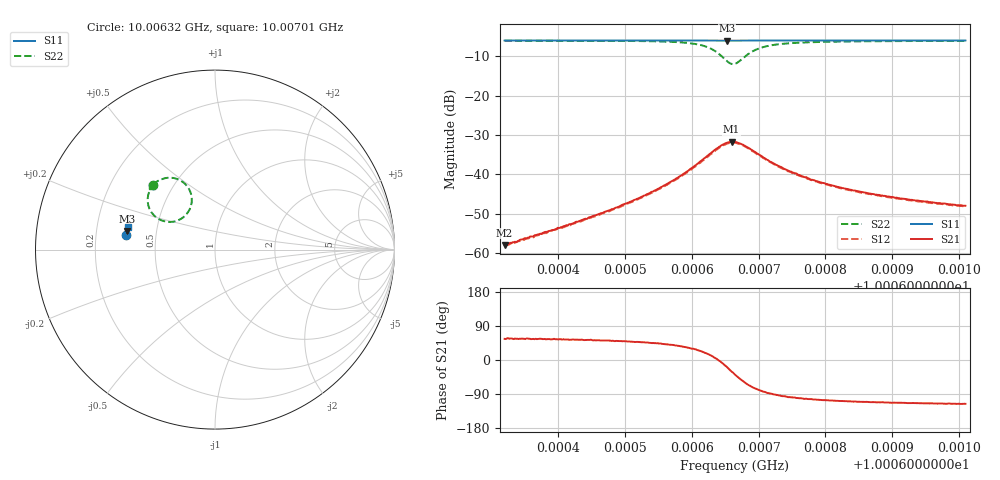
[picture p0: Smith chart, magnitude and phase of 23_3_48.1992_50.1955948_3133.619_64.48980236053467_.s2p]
#  HZ  S  RI  R  50.00
! Rohde & Schwarz Vector Network Analyzer
! Rohde-Schwarz,ZNB20-2Port,1311601062101988,3.16
! Created: UTC 3/20/2024, 11:37:03 AM
! freq[Hz]  re:S11  im:S11  re:S21  im:S21  re:S12  im:S12  re:S22  im:S22
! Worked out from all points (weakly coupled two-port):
!   401 points, 10.00632 GHz to 10.00701 GHz, reference 50 ohm
!   highest |S21| = -31.75 dB at 10.006659 GHz (marker M1); lowest = -58.0 dB at 10.00632 GHz (marker M2)
!   lowest |S11| = -6.0 dB at 10.006652 GHz (marker M3), VSWR 3.00, Z = 16.8 + j4.66 ohm
!   |S11| at or under -10 dB: nowhere
!   |S22| runs from -12.0 to -6.0 dB; largest |S21 - S12| = 0.0018
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1.00063196e10  -0.4953 0.0828  0.000707 0.00104  0.000618 0.00105  -0.346 0.361
1.00063938e10  -0.4946 0.0877  0.0011 0.00162  0.00103 0.00166  -0.3372 0.3689
1.00064352e10  -0.4941 0.0906  0.00154 0.0021  0.00144 0.0021  -0.3305 0.3744
1.00064938e10  -0.4935 0.0944  0.00257 0.00306  0.00237 0.00308  -0.3161 0.3838
1.00065214e10  -0.4931 0.0963  0.00338 0.00369  0.00317 0.00374  -0.3056 0.3891
1.00065507e10  -0.4926 0.0984  0.00482 0.00457  0.00449 0.00465  -0.2889 0.3954
1.00065887e10  -0.492 0.1008  0.00844 0.00581  0.00794 0.00605  -0.2501 0.4005
1.00066163e10  -0.491 0.1028  0.0143 0.0056  0.0136 0.00618  -0.1954 0.3866
1.00066335e10  -0.4902 0.1037  0.0201 0.00231  0.0191 0.00323  -0.149 0.3443
1.00066439e10  -0.4897 0.1039  0.0231 -0.00233  0.0224 -0.00109  -0.1302 0.2938
1.00066525e10  -0.4893 0.1039  0.0239 -0.00798  0.0235 -0.00656  -0.1352 0.2393
1.00066594e10  -0.4893 0.1039  0.0223 -0.0131  0.0224 -0.0115  -0.1583 0.1979
1.00066646e10  -0.4894 0.1039  0.0201 -0.0161  0.0204 -0.0144  -0.185 0.1741
1.00066749e10  -0.4897 0.104  0.0143 -0.0193  0.015 -0.0182  -0.2477 0.154
1.0006687e10  -0.4902 0.1047  0.00794 -0.0196  0.00893 -0.0186  -0.3075 0.1672
1.00067077e10  -0.4907 0.106  0.00178 -0.0161  0.00249 -0.0157  -0.3576 0.2135
1.00067405e10  -0.4908 0.1086  -0.00121 -0.0114  -0.000752 -0.0113  -0.3749 0.2666
1.00067801e10  -0.4904 0.1114  -0.00201 -0.00827  -0.00159 -0.00822  -0.3733 0.3
1.00068215e10  -0.4899 0.1142  -0.00211 -0.00645  -0.00174 -0.00642  -0.368 0.3192
1.00068957e10  -0.489 0.1191  -0.00199 -0.0048  -0.00172 -0.00477  -0.3593 0.3384
1.0006956e10  -0.488 0.1229  -0.00185 -0.00402  -0.0016 -0.00401  -0.3535 0.3481
1.00070095e10  -0.4874 0.1263  -0.00172 -0.00358  -0.00153 -0.00357  -0.349 0.3545
